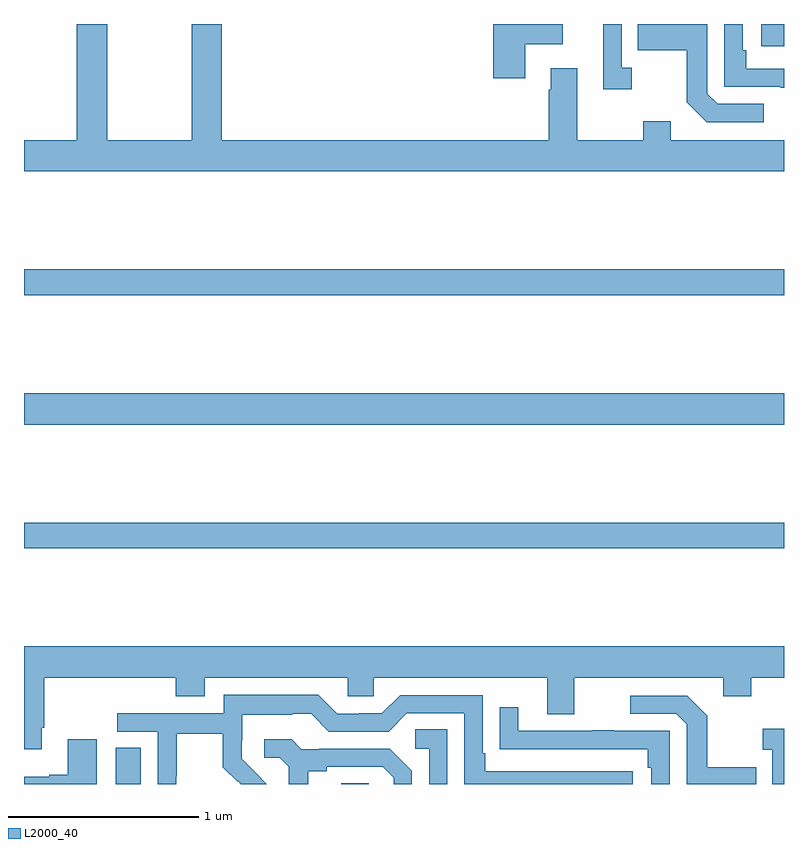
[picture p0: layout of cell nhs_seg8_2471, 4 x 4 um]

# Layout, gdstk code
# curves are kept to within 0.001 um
import gdstk
lib = gdstk.Library(unit=1e-6, precision=1e-09)
def R(c, l, rs):  # rectangles x0, y0, x1, y1
    for r in rs: c.add(gdstk.rectangle(r[:2], r[2:], *l))
def P(c, l, *ps):  # polygons
    for p in ps: c.add(gdstk.Polygon(p, *l))
L2000_40 = (2000, 40)

nhs_seg8_2471 = lib.new_cell('nhs_seg8_2471')
R(nhs_seg8_2471, L2000_40, [(265.484,1155.9,265.615,1156.091), (266.669,1155.9,266.814,1155.905), (265,1157.14,269,1157.276), (265,1157.792,269,1157.956), (265,1158.472,269,1158.608), (268.881,1159.782,269,1159.9)])
P(nhs_seg8_2471, L2000_40, [(267.637,1159.793),(267.835,1159.793),(267.835,1159.9),(267.47,1159.9),(267.47,1159.614),(267.637,1159.614)],
  [(269,1159.288),(268.405,1159.288),(268.405,1159.387),(268.258,1159.387),(268.258,1159.288),(267.913,1159.288),(267.913,1159.666),(267.773,1159.666),(267.773,1159.553),(267.761,1159.553),(267.761,1159.288),(266.042,1159.288),(266.042,1159.9),(265.882,1159.9),(265.882,1159.288),(265.437,1159.288),(265.437,1159.9),(265.277,1159.9),(265.277,1159.288),(265,1159.288),(265,1159.124),(269,1159.124)],
  [(268.198,1159.67),(268.146,1159.67),(268.146,1159.9),(268.049,1159.9),(268.049,1159.557),(268.198,1159.557)],
  [(268.894,1159.479),(268.65,1159.479),(268.596,1159.533),(268.596,1159.9),(268.231,1159.9),(268.231,1159.762),(268.488,1159.762),(268.488,1159.489),(268.593,1159.383),(268.894,1159.383)],
  [(269,1159.665),(268.802,1159.665),(268.802,1159.762),(268.782,1159.762),(268.782,1159.9),(268.686,1159.9),(268.686,1159.569),(268.981,1159.569),(268.981,1159.564),(269,1159.564)],
  [(265,1156.083),(265.093,1156.083),(265.093,1156.195),(265.106,1156.195),(265.106,1156.46),(265.799,1156.46),(265.799,1156.361),(265.951,1156.361),(265.951,1156.46),(266.703,1156.46),(266.703,1156.362),(266.841,1156.362),(266.841,1156.46),(267.755,1156.46),(267.755,1156.266),(267.895,1156.266),(267.895,1156.46),(268.679,1156.46),(268.679,1156.361),(268.827,1156.361),(268.827,1156.46),(269,1156.46),(269,1156.624),(265,1156.624)],
  [(265.8,1155.94),(265.803,1155.94),(265.803,1156.164),(266.047,1156.164),(266.047,1155.989),(266.124,1155.912),(266.127,1155.915),(266.142,1155.9),(266.278,1155.9),(266.146,1156.034),(266.146,1156.131),(266.148,1156.131),(266.148,1156.265),(266.411,1156.265),(266.411,1156.269),(266.511,1156.269),(266.604,1156.176),(266.919,1156.176),(267.015,1156.272),(267.318,1156.272),(267.318,1155.9),(268.204,1155.9),(268.204,1155.966),(267.427,1155.966),(267.427,1156.063),(267.414,1156.063),(267.414,1156.368),(266.979,1156.368),(266.883,1156.272),(266.765,1156.272),(266.765,1156.269),(266.649,1156.269),(266.549,1156.369),(266.052,1156.369),(266.052,1156.272),(265.491,1156.272),(265.491,1156.176),(265.704,1156.176),(265.704,1155.9),(265.8,1155.9)],
  [(268.853,1155.987),(268.597,1155.987),(268.597,1156.259),(268.491,1156.365),(268.191,1156.365),(268.191,1156.269),(268.434,1156.269),(268.488,1156.215),(268.488,1155.9),(268.853,1155.9)],
  [(268.398,1156.179),(268.103,1156.179),(268.103,1156.184),(267.991,1156.184),(267.991,1156.179),(267.601,1156.179),(267.601,1156.303),(267.505,1156.303),(267.505,1156.084),(267.607,1156.084),(267.607,1156.083),(268.282,1156.083),(268.282,1155.986),(268.302,1155.986),(268.302,1155.9),(268.398,1155.9)],
  [(269,1156.192),(268.887,1156.192),(268.887,1156.079),(268.938,1156.079),(268.938,1155.9),(269,1155.9)],
  [(267.228,1156.187),(267.06,1156.187),(267.06,1156.086),(267.132,1156.086),(267.132,1155.9),(267.228,1155.9)],
  [(266.497,1155.968),(266.593,1155.968),(266.593,1155.99),(266.888,1155.99),(266.945,1155.933),(266.945,1155.9),(267.042,1155.9),(267.042,1155.97),(266.926,1156.086),(266.554,1156.086),(266.554,1156.083),(266.46,1156.083),(266.408,1156.135),(266.265,1156.135),(266.265,1156.038),(266.346,1156.038),(266.393,1155.991),(266.393,1155.9),(266.497,1155.9)],
  [(265.384,1156.135),(265.229,1156.135),(265.229,1155.95),(265.133,1155.95),(265.133,1155.937),(265,1155.937),(265,1155.9),(265.384,1155.9)])

lib.write_gds('nhs_seg8_2471.gds')
